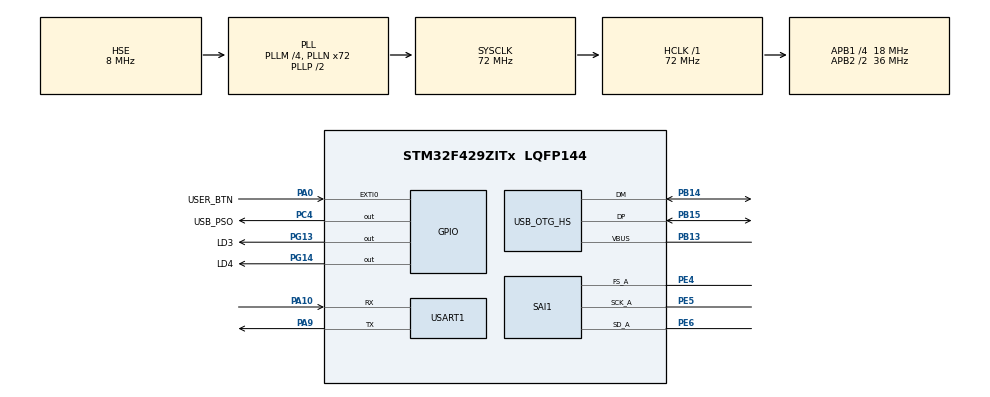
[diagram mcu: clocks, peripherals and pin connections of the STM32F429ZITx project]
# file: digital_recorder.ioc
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Dma.Request0=SAI1_A
Dma.SAI1_A.0.Direction=DMA_PERIPH_TO_MEMORY
Dma.SAI1_A.0.FIFOMode=DMA_FIFOMODE_DISABLE
Dma.SAI1_A.0.Instance=DMA2_Stream1
Dma.SAI1_A.0.MemDataAlignment=DMA_MDATAALIGN_HALFWORD
Dma.SAI1_A.0.MemInc=DMA_MINC_ENABLE
Dma.SAI1_A.0.Mode=DMA_CIRCULAR
Dma.SAI1_A.0.PeriphDataAlignment=DMA_PDATAALIGN_HALFWORD
Dma.SAI1_A.0.PeriphInc=DMA_PINC_DISABLE
Dma.SAI1_A.0.Priority=DMA_PRIORITY_LOW
FATFS._FS_EXFAT=1
FATFS._MAX_SS=4096
FATFS._USE_LFN=1
Mcu.Family=STM32F4
Mcu.Name=STM32F429ZITx
Mcu.Package=LQFP144
NVIC.DMA2_Stream1_IRQn=true\:0\:0\:false\:false\:true\:false\:true
NVIC.OTG_HS_IRQn=true\:0\:0\:false\:false\:true\:false\:true
NVIC.PriorityGroup=NVIC_PRIORITYGROUP_4
NVIC.TIM6_DAC_IRQn=true\:15\:0\:false\:false\:true\:false\:true
NVIC.TimeBase=TIM6_DAC_IRQn
NVIC.TimeBaseIP=TIM6
PA0/WKUP.GPIO_Label=USER_BTN
PA0/WKUP.GPIO_ModeDefaultEXTI=GPIO_MODE_EVT_RISING
PA0/WKUP.Signal=GPXTI0
PA10.Mode=Asynchronous
PA10.Signal=USART1_RX
PA13.Mode=Serial_Wire
PA13.Signal=SYS_JTMS-SWDIO
PA14.Mode=Serial_Wire
PA14.Signal=SYS_JTCK-SWCLK
PA9.Mode=Asynchronous
PA9.Signal=USART1_TX
PB13.Mode=Activate_VBUS_FS
PB13.Signal=USB_OTG_HS_VBUS
PB14.Mode=Host_FS
PB14.Signal=USB_OTG_HS_DM
PB15.Mode=Host_FS
PB15.Signal=USB_OTG_HS_DP
PC4.GPIO_Label=USB_PSO
PC4.Signal=GPIO_Output
PE4.Mode=SAI_A_Master
PE4.Signal=SAI1_FS_A
PE5.Mode=SAI_A_Master
PE5.Signal=SAI1_SCK_A
PE6.Mode=SAI_A_Master
PE6.Signal=SAI1_SD_A
PG13.GPIO_Label=LD3
PG13.Signal=GPIO_Output
PG14.GPIO_Label=LD4
PG14.Signal=GPIO_Output
PH0/OSC_IN.Mode=HSE-External-Oscillator
PH0/OSC_IN.Signal=RCC_OSC_IN
PH1/OSC_OUT.Mode=HSE-External-Oscillator
PH1/OSC_OUT.Signal=RCC_OSC_OUT
ProjectManager.HeapSize=0x200
ProjectManager.StackSize=0x400
ProjectManager.TargetToolchain=STM32CubeIDE
RCC.48MHZClocksFreq_Value=48000000
RCC.AHBFreq_Value=72000000
RCC.APB1CLKDivider=RCC_HCLK_DIV4
RCC.APB1Freq_Value=18000000
RCC.APB1TimFreq_Value=36000000
RCC.APB2CLKDivider=RCC_HCLK_DIV2
RCC.APB2Freq_Value=36000000
RCC.APB2TimFreq_Value=72000000
RCC.CortexFreq_Value=72000000
RCC.HCLKFreq_Value=72000000
RCC.HSE_VALUE=8000000
RCC.HSI_VALUE=16000000
RCC.LSE_VALUE=32768
RCC.PLLI2SDivQ=32
RCC.PLLI2SN=216
RCC.PLLM=4
RCC.PLLN=72
RCC.PLLQ=3
RCC.PLLSAIDivQ=25
RCC.PLLSAIN=192
RCC.PLLSAIQ=5
RCC.SYSCLKFreq_VALUE=72000000
RCC.SYSCLKSource=RCC_SYSCLKSOURCE_PLLCLK
RCC.VCOOutputFreq_Value=144000000
SAI1.ActiveFrameLength-SAI_A_Master=32
SAI1.AudioMode-SAI_A_Master=SAI_MODEMASTER_RX
SAI1.ClockSource-SAI_A_Master=SAI_CLKSOURCE_PLLSAI
SAI1.ClockStrobing-SAI_A_Master=SAI_CLOCKSTROBING_RISINGEDGE
SAI1.DataSize-SAI_A_Master=SAI_DATASIZE_16
SAI1.ErrorAudioFreq-SAI_A_Master=4.31 %
SAI1.FSDefinition-SAI_A_Master=SAI_FS_CHANNEL_IDENTIFICATION
SAI1.FrameLength-SAI_A_Master=64
SAI1.Instance-SAI_A_Master=SAI$Index_Block_A
SAI1.MClockEnable-SAI_A_Master=SAI_MASTERCLOCK_DISABLE
SAI1.NoDivider-SAI_A_Master=SAI_MASTERDIVIDER_DISABLE
SAI1.RealAudioFreq-SAI_A_Master=4.40625 MHz
SAI1.SlotActive-SAI_A_Master=0x0000FFFF
SAI1.SlotNumber-SAI_A_Master=4
SAI1.Synchro_A=SAI_ASYNCHRONOUS
SAI1.VirtualMode-SAI_A_Master=VM_MASTER
SAI1.VirtualSlotActive-SAI_A_Master=SAI_SLOTACTIVE_ALL
USART1.VirtualMode=VM_ASYNC
USB_HOST.BSP.number=1
USB_HOST.USBH_HandleTypeDef-MSC_HS=hUsbHostHS
USB_HOST.VirtualModeHS=Msc
USB_HOST0.BSP.STBoard=false
USB_HOST0.BSP.api=Unknown
USB_HOST0.BSP.i2caddr=0
USB_HOST0.BSP.instance=PC4
USB_HOST0.BSP.ip=GPIO
USB_HOST0.BSP.mode=Output
USB_HOST0.BSP.name=Drive_VBUS_HS
USB_HOST0.BSP.solution=PC4
USB_OTG_HS.VirtualMode-Host_FS=Host_FS
VP_FATFS_VS_USB.Mode=USB
VP_SYS_VS_tim6.Mode=TIM6
VP_USB_HOST_VS_USB_HOST_MSC_HS.Mode=MSC_HS
board=custom

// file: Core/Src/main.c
/* USER CODE BEGIN Header */
/**
  ******************************************************************************
  * @file           : main.c
  * @brief          : Main program body
  ******************************************************************************
  * @attention
  *
  * <h2><center>&copy; Copyright (c) 2021 STMicroelectronics.
  * All rights reserved.</center></h2>
  *
  * This software component is licensed by ST under BSD 3-Clause license,
  * the "License"; You may not use this file except in compliance with the
  * License. You may obtain a copy of the License at:
  *                        opensource.org/licenses/BSD-3-Clause
  *
  ******************************************************************************
  */
/* USER CODE END Header */
#include "main.h"
#include "fatfs.h"
#include "usb_host.h"

/* USER CODE BEGIN Includes */
#include "pdm_fir.h"
#include "file_handling.h"
#include <stdlib.h>
#include <string.h>
/* USER CODE END Includes */

/* USER CODE BEGIN PTD */
// States the program can take
typedef enum {
    IDLE, RECORDING, WAITING_FOR_USB
} program_state_t;

typedef struct {
    pdm_fir_filter_t *filter;
    uint16_t decimation_factor;
    int16_t input_offset;
    int16_t output_offset;
    uint16_t linear_gain;
    uint8_t bit_scale;
} pdm_filter_t;
/* USER CODE END PTD */

/* USER CODE BEGIN PD */
// CLANG WARNING SUPPRESSION
#pragma clang diagnostic push
#pragma ide diagnostic ignored "EndlessLoop"

#define FS 48000
#define DECIMATION_FACTOR 64
#define PDM_WORD_SIZE 16

// 1ms @ FS*DECIMATION_FACTOR (With PDM_WORD_SIZE samples per word)
#define PDM_BUFFER_SIZE ((FS / 1000) * (DECIMATION_FACTOR / PDM_WORD_SIZE))
// 1ms @ FS (With 1 sample per word)
#define PCM_BUFFER_SIZE (FS/1000)

#define LINEAR_GAIN 10

/* USER CODE END PD */

SAI_HandleTypeDef hsai_BlockA1;
DMA_HandleTypeDef hdma_sai1_a;

UART_HandleTypeDef huart1;

/* USER CODE BEGIN PV */

uint8_t sai_flag = 1, sai_half = 0;

extern ApplicationTypeDef Appli_state;

/* USER CODE END PV */

void SystemClock_Config(void);

static void MX_GPIO_Init(void);

static void MX_DMA_Init(void);

static void MX_SAI1_Init(void);

static void MX_USART1_UART_Init(void);

void MX_USB_HOST_Process(void);

/* USER CODE BEGIN 0 */

// Configuring SAI Interruption Callbacks
void HAL_SAI_RxHalfCpltCallback(SAI_HandleTypeDef *hsai) {
    sai_flag = 0;
    sai_half = 0;
}

void HAL_SAI_RxCpltCallback(SAI_HandleTypeDef *hsai) {
    sai_flag = 0;
    sai_half = 1;
}
/* USER CODE END 0 */

int main(void) {
    /* USER CODE BEGIN 1 */

    uint16_t pdm_buffer[PDM_BUFFER_SIZE * 2] = {0};
    uint16_t pcm_buffer[PCM_BUFFER_SIZE] = {0}; // initializing Buffer @ 0

    program_state_t programState = WAITING_FOR_USB;
    pdm_fir_filter_config_t pdm_filter_wav;

    /* USER CODE END 1 */

    /* MCU Configuration--------------------------------------------------------*/

    /* Reset of all peripherals, Initializes the Flash interface and the Systick. */
    HAL_Init();

    /* Configure the system clock */
    SystemClock_Config();

    /* Initialize all configured peripherals */
    MX_GPIO_Init();
    MX_DMA_Init();
    MX_SAI1_Init();
    MX_USART1_UART_Init();
    MX_FATFS_Init();
    MX_USB_HOST_Init();
    /* USER CODE BEGIN 2 */
    // Initializing FIR FILTER
    //pdm_fir_flt_init(&pdm_filter);
    pdm_fir_flt_config_init(&pdm_filter_wav, DECIMATION_FACTOR, -820, 0, LINEAR_GAIN, 16);
    // Starting Peripherals
    // Starting Microphone Capture
    HAL_SAI_Receive_DMA(&hsai_BlockA1, (uint8_t *) pdm_buffer, PDM_BUFFER_SIZE * 2);

    // GREETING in serial Port
    char *str_buff = malloc(sizeof(char) * 100);
    sprintf(str_buff, "+----------------------------------------------------------+\r\n");
    HAL_UART_Transmit(&huart1, (uint8_t *) str_buff, strlen(str_buff), HAL_MAX_DELAY);
    sprintf(str_buff, "|                                                          |\r\n");
    HAL_UART_Transmit(&huart1, (uint8_t *) str_buff, strlen(str_buff), HAL_MAX_DELAY);
    sprintf(str_buff, "|                                                          |\r\n");
    HAL_UART_Transmit(&huart1, (uint8_t *) str_buff, strlen(str_buff), HAL_MAX_DELAY);
    sprintf(str_buff, "|                    STM32 USB Recorder                    |\r\n");
    HAL_UART_Transmit(&huart1, (uint8_t *) str_buff, strlen(str_buff), HAL_MAX_DELAY);
    sprintf(str_buff, "|                                                          |\r\n");
    HAL_UART_Transmit(&huart1, (uint8_t *) str_buff, strlen(str_buff), HAL_MAX_DELAY);
    sprintf(str_buff, "|                                                          |\r\n");
    HAL_UART_Transmit(&huart1, (uint8_t *) str_buff, strlen(str_buff), HAL_MAX_DELAY);
    sprintf(str_buff, "+----------------------------------------------------------+\n\r");
    HAL_UART_Transmit(&huart1, (uint8_t *) str_buff, strlen(str_buff), HAL_MAX_DELAY);
    free(str_buff);

    /* USER CODE END 2 */

    /* Infinite loop */
    /* USER CODE BEGIN WHILE */
    uint32_t idle_counter = 0, cool_down = 0, sample_count = 0, file_number = 1;
    char file_name[100];
    while (1) {
        /* USER CODE END WHILE */
        MX_USB_HOST_Process();

        /* USER CODE BEGIN 3 */
        // State Transition related to USB
        ApplicationTypeDef local_app_state = Appli_state;
        if (local_app_state == APPLICATION_READY && programState == WAITING_FOR_USB)
            programState = IDLE;
        else if (local_app_state != APPLICATION_READY)
            programState = WAITING_FOR_USB;

        // State Machine
        switch (programState) {
            case IDLE:
                // Handling Interrupts
                if (!sai_flag) {
                    (void) pdm_fir_flt_chunk(&pdm_filter_wav,
                                             pcm_buffer,
                                             pdm_buffer + sai_half * PDM_BUFFER_SIZE,
                                             PDM_BUFFER_SIZE);
                    sai_flag = 1;

                    // Updating cool down (sai flag raised every 1ms...)
                    if (cool_down > 0) cool_down--;
                }
                // Checking State transition conditions
                if (HAL_GPIO_ReadPin(USER_BTN_GPIO_Port, USER_BTN_Pin) == GPIO_PIN_SET && cool_down == 0) {
                    //transitioning to RECORDING
                    programState = RECORDING;
                    cool_down = 500;
                    HAL_GPIO_WritePin(LD3_GPIO_Port, LD3_Pin, GPIO_PIN_SET);
                    sprintf(file_name, "REC_%08lx.wav", file_number++);
                    init_wav(file_name, FS);
                    sample_count = 0;
                }
                break;
            case RECORDING:
                // Handling Interrupts
                if (!sai_flag) {
                    uint32_t filtered = pdm_fir_flt_chunk(&pdm_filter_wav,
                                                          pcm_buffer,
                                                          pdm_buffer + sai_half * PDM_BUFFER_SIZE,
                                                          PDM_BUFFER_SIZE);
                    sai_flag = 1;
                    sample_count += filtered;
                    write_wav(pcm_buffer, filtered);
                    // Updating cool down (sai flag raised every 1ms...)
                    if (cool_down > 0) cool_down--;
                }
                // Checking State transition conditions
                if (HAL_GPIO_ReadPin(USER_BTN_GPIO_Port, USER_BTN_Pin) == GPIO_PIN_SET && cool_down == 0) {
                    //transitioning to RECORDING
                    HAL_GPIO_WritePin(LD3_GPIO_Port, LD3_Pin, GPIO_PIN_RESET);
                    finish_wav(file_name, sample_count);
                    programState = IDLE;
                    cool_down = 500;
                }
                break;
            case WAITING_FOR_USB:
                idle_counter = (idle_counter + 1) % 0xFFFFFF;
                break;
            default:
                Error_Handler();
                break;
        }
    }
    /* USER CODE END 3 */
}

void SystemClock_Config(void) {
    RCC_OscInitTypeDef RCC_OscInitStruct = {0};
    RCC_ClkInitTypeDef RCC_ClkInitStruct = {0};

    /** Macro to configure SAI1BlockA clock source selection
    */
    __HAL_RCC_SAI_BLOCKACLKSOURCE_CONFIG(SAI_CLKSOURCE_PLLSAI);
    /** Configure the main internal regulator output voltage
    */
    __HAL_RCC_PWR_CLK_ENABLE();
    __HAL_PWR_VOLTAGESCALING_CONFIG(PWR_REGULATOR_VOLTAGE_SCALE3);
    /** Initializes the RCC Oscillators according to the specified parameters
    * in the RCC_OscInitTypeDef structure.
    */
    RCC_OscInitStruct.OscillatorType = RCC_OSCILLATORTYPE_HSE;
    RCC_OscInitStruct.HSEState = RCC_HSE_ON;
    RCC_OscInitStruct.PLL.PLLState = RCC_PLL_ON;
    RCC_OscInitStruct.PLL.PLLSource = RCC_PLLSOURCE_HSE;
    RCC_OscInitStruct.PLL.PLLM = 4;
    RCC_OscInitStruct.PLL.PLLN = 72;
    RCC_OscInitStruct.PLL.PLLP = RCC_PLLP_DIV2;
    RCC_OscInitStruct.PLL.PLLQ = 3;
    if (HAL_RCC_OscConfig(&RCC_OscInitStruct) != HAL_OK) {
        Error_Handler();
    }
    /** Initializes the CPU, AHB and APB buses clocks
    */
    RCC_ClkInitStruct.ClockType = RCC_CLOCKTYPE_HCLK | RCC_CLOCKTYPE_SYSCLK
                                  | RCC_CLOCKTYPE_PCLK1 | RCC_CLOCKTYPE_PCLK2;
    RCC_ClkInitStruct.SYSCLKSource = RCC_SYSCLKSOURCE_PLLCLK;
    RCC_ClkInitStruct.AHBCLKDivider = RCC_SYSCLK_DIV1;
    RCC_ClkInitStruct.APB1CLKDivider = RCC_HCLK_DIV4;
    RCC_ClkInitStruct.APB2CLKDivider = RCC_HCLK_DIV2;

    if (HAL_RCC_ClockConfig(&RCC_ClkInitStruct, FLASH_LATENCY_2) != HAL_OK) {
        Error_Handler();
    }
}

static void MX_SAI1_Init(void) {

    hsai_BlockA1.Instance = SAI1_Block_A;
    hsai_BlockA1.Init.Protocol = SAI_FREE_PROTOCOL;
    hsai_BlockA1.Init.AudioMode = SAI_MODEMASTER_RX;
    hsai_BlockA1.Init.DataSize = SAI_DATASIZE_16;
    hsai_BlockA1.Init.FirstBit = SAI_FIRSTBIT_MSB;
    hsai_BlockA1.Init.ClockStrobing = SAI_CLOCKSTROBING_RISINGEDGE;
    hsai_BlockA1.Init.Synchro = SAI_ASYNCHRONOUS;
    hsai_BlockA1.Init.OutputDrive = SAI_OUTPUTDRIVE_DISABLE;
    hsai_BlockA1.Init.NoDivider = SAI_MASTERDIVIDER_DISABLE;
    hsai_BlockA1.Init.FIFOThreshold = SAI_FIFOTHRESHOLD_EMPTY;
    hsai_BlockA1.Init.ClockSource = SAI_CLKSOURCE_PLLSAI;
    hsai_BlockA1.FrameInit.FrameLength = 64;
    hsai_BlockA1.FrameInit.ActiveFrameLength = 32;
    hsai_BlockA1.FrameInit.FSDefinition = SAI_FS_CHANNEL_IDENTIFICATION;
    hsai_BlockA1.FrameInit.FSPolarity = SAI_FS_ACTIVE_LOW;
    hsai_BlockA1.FrameInit.FSOffset = SAI_FS_FIRSTBIT;
    hsai_BlockA1.SlotInit.FirstBitOffset = 0;
    hsai_BlockA1.SlotInit.SlotSize = SAI_SLOTSIZE_DATASIZE;
    hsai_BlockA1.SlotInit.SlotNumber = 4;
    hsai_BlockA1.SlotInit.SlotActive = 0x0000FFFF;
    if (HAL_SAI_Init(&hsai_BlockA1) != HAL_OK) {
        Error_Handler();
    }

}

static void MX_USART1_UART_Init(void) {

    huart1.Instance = USART1;
    huart1.Init.BaudRate = 115200;
    huart1.Init.WordLength = UART_WORDLENGTH_8B;
    huart1.Init.StopBits = UART_STOPBITS_1;
    huart1.Init.Parity = UART_PARITY_NONE;
    huart1.Init.Mode = UART_MODE_TX_RX;
    huart1.Init.HwFlowCtl = UART_HWCONTROL_NONE;
    huart1.Init.OverSampling = UART_OVERSAMPLING_16;
    if (HAL_UART_Init(&huart1) != HAL_OK) {
        Error_Handler();
    }

}

static void MX_DMA_Init(void) {

    /* DMA controller clock enable */
    __HAL_RCC_DMA2_CLK_ENABLE();

    /* DMA interrupt init */
    /* DMA2_Stream1_IRQn interrupt configuration */
    HAL_NVIC_SetPriority(DMA2_Stream1_IRQn, 0, 0);
    HAL_NVIC_EnableIRQ(DMA2_Stream1_IRQn);

}

static void MX_GPIO_Init(void) {
    GPIO_InitTypeDef GPIO_InitStruct = {0};

    /* GPIO Ports Clock Enable */
    __HAL_RCC_GPIOE_CLK_ENABLE();
    __HAL_RCC_GPIOH_CLK_ENABLE();
    __HAL_RCC_GPIOA_CLK_ENABLE();
    __HAL_RCC_GPIOC_CLK_ENABLE();
    __HAL_RCC_GPIOB_CLK_ENABLE();
    __HAL_RCC_GPIOG_CLK_ENABLE();

    /*Configure GPIO pin Output Level */
    HAL_GPIO_WritePin(USB_PSO_GPIO_Port, USB_PSO_Pin, GPIO_PIN_RESET);

    /*Configure GPIO pin Output Level */
    HAL_GPIO_WritePin(GPIOG, LD3_Pin | LD4_Pin, GPIO_PIN_RESET);

    /*Configure GPIO pin : USER_BTN_Pin */
    GPIO_InitStruct.Pin = USER_BTN_Pin;
    GPIO_InitStruct.Mode = GPIO_MODE_EVT_RISING;
    GPIO_InitStruct.Pull = GPIO_NOPULL;
    HAL_GPIO_Init(USER_BTN_GPIO_Port, &GPIO_InitStruct);

    /*Configure GPIO pin : USB_PSO_Pin */
    GPIO_InitStruct.Pin = USB_PSO_Pin;
    GPIO_InitStruct.Mode = GPIO_MODE_OUTPUT_PP;
    GPIO_InitStruct.Pull = GPIO_NOPULL;
    GPIO_InitStruct.Speed = GPIO_SPEED_FREQ_LOW;
    HAL_GPIO_Init(USB_PSO_GPIO_Port, &GPIO_InitStruct);

    /*Configure GPIO pins : LD3_Pin LD4_Pin */
    GPIO_InitStruct.Pin = LD3_Pin | LD4_Pin;
    GPIO_InitStruct.Mode = GPIO_MODE_OUTPUT_PP;
    GPIO_InitStruct.Pull = GPIO_NOPULL;
    GPIO_InitStruct.Speed = GPIO_SPEED_FREQ_LOW;
    HAL_GPIO_Init(GPIOG, &GPIO_InitStruct);

}

void HAL_TIM_PeriodElapsedCallback(TIM_HandleTypeDef *htim) {
    if (htim->Instance == TIM6) {
        HAL_IncTick();
    }
}

void Error_Handler(void) {
    /* USER CODE BEGIN Error_Handler_Debug */
    /* User can add his own implementation to report the HAL error return state */
    __disable_irq();
    HAL_GPIO_WritePin(LD4_GPIO_Port, LD4_Pin, GPIO_PIN_SET);
    while (1) {
    }
    /* USER CODE END Error_Handler_Debug */
}

/************************ (C) COPYRIGHT STMicroelectronics *****END OF FILE****/
